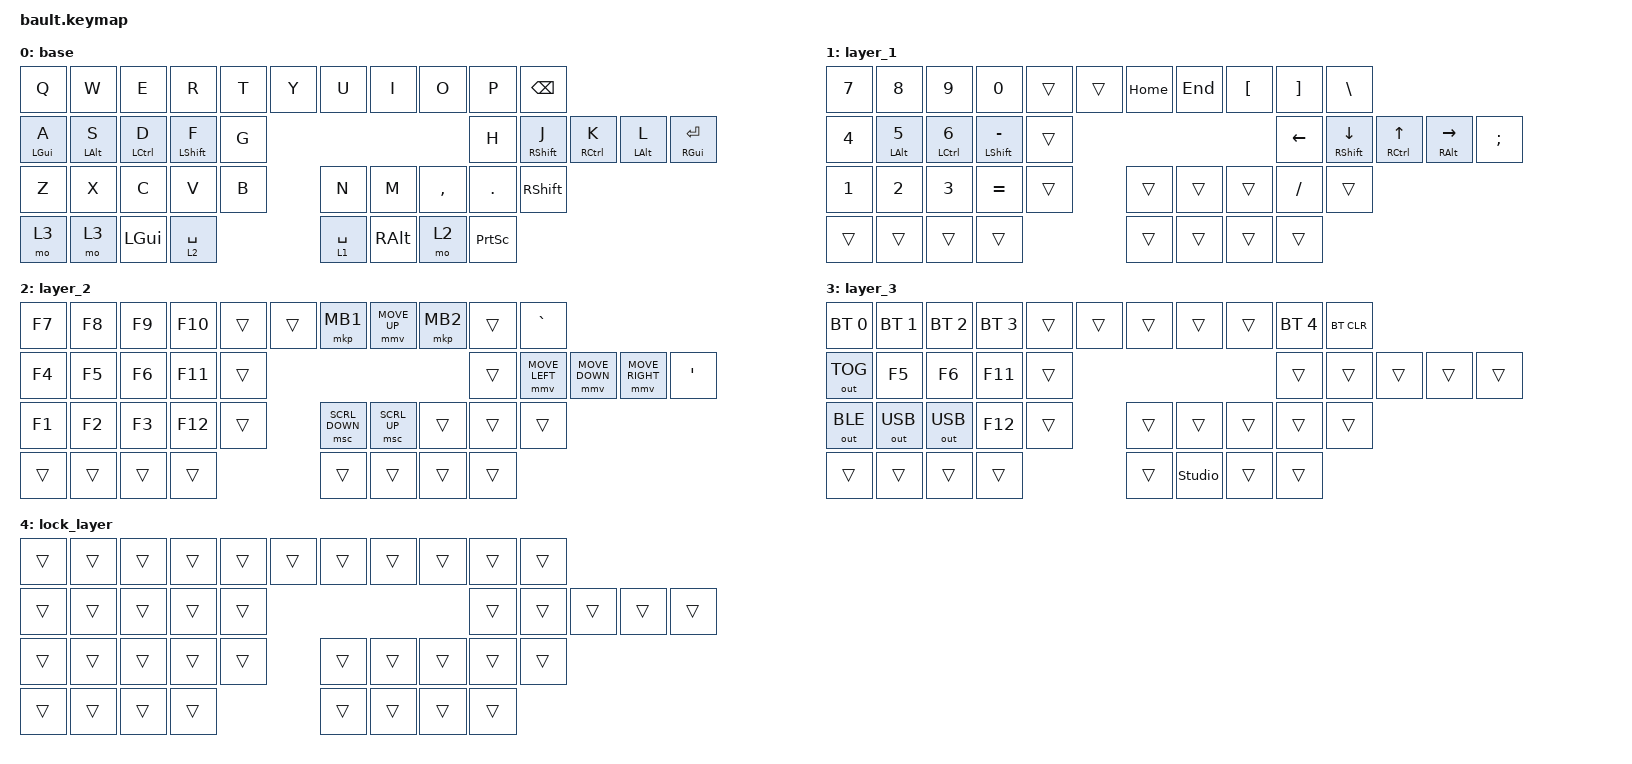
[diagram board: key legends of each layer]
#include <dt-bindings/zmk/pointing.h>
#include <behaviors.dtsi>
#include <dt-bindings/zmk/keys.h>
#include <dt-bindings/zmk/bt.h>
#include <dt-bindings/zmk/outputs.h>

#define ZMK_POINTING_DEFAULT_MOVE_VAL 1500  // default: 600
#define ZMK_POINTING_DEFAULT_SCRL_VAL 20    // default: 10

#include <dt-bindings/zmk/pointing.h>

/ {

    behaviors {
        hm: homerow_mods {
            compatible = "zmk,behavior-hold-tap";
            display-name = "Homerow Mods";
            bindings = <&kp>, <&kp>;

            #binding-cells = <2>;
            tapping-term-ms = <200>;
            quick-tap-ms = <180>;
            require-prior-idle-ms = <0>;
            flavor = "tap-preferred";
        };
    };

    behaviors {
        soft_off_short: soft_off_short {
            compatible = "zmk,behavior-soft-off";
            label = "SOFTOFF_SHORT";
            #binding-cells = <0>;
            hold-time-ms = <800>;   /* 테스트: 0.8초 */
        };
    };



    /* 🔹 콤보 정의 */
    combos {
        compatible = "zmk,combos";

        // Q + W -> Tab (베이스 레이어에서만)
        combo_qw_tab {
            timeout-ms = <30>;              // 30~50ms 선호, 필요시 조절
            require-prior-idle-ms = <120>; 
            key-positions = <0 1>;          // Q=0, W=1
            bindings = <&kp TAB>;
            layers = <0>;                   // base 레이어에서만 동작 (원하면 삭제)
        };
        combo_ws_esc {
            timeout-ms = <30>;              // 30~50ms 선호, 필요시 조절
            require-prior-idle-ms = <120>; 
            key-positions = <1 2>;          // Q=0, W=1
            bindings = <&kp ESC>;
            layers = <0>;                   // base 레이어에서만 동작 (원하면 삭제)
        };

        // A + S -> Caps Lock
        combo_as_caps {
            timeout-ms = <30>;
            key-positions = <11 12>;        // A=11, S=12
            bindings = <&kp CAPSLOCK>;
            layers = <0>;
        };
        combo_fg_unlock {
            timeout-ms = <35>;
            key-positions = <14 15>;    // F=14, G=15 (실제 행렬 인덱스 맞춰야 함)
            bindings = <&to 0>;         // base layer로 전환
            layers = <4>;               // lock layer에서만 동작
        };
    };
    /* 🔹 콤보 정의 */


    keymap {
        compatible = "zmk,keymap";

        base {
            bindings = <
                &kp Q      &kp W      &kp E      &kp R      &kp T      &kp Y      &kp U      &kp I      &kp O      &kp P      &kp BACKSPACE
                &hm LGUI A  &hm LEFT_ALT S  &hm LEFT_CONTROL D  &hm LEFT_SHIFT F  &kp G      &kp H      &hm RIGHT_SHIFT J  &hm RIGHT_CONTROL K  &hm LEFT_ALT L  &hm RIGHT_GUI ENTER
                &kp Z      &kp X      &kp C      &kp V      &kp B      &kp N      &kp M      &kp COMMA      &kp PERIOD      &kp RIGHT_SHIFT
                &mo 3      &mo 3      &kp LGUI      &lt 2 SPACE      &lt 1 SPACE      &kp RIGHT_ALT      &mo 2      &kp PSCRN
            >;
        };


        layer_1 {
            bindings = <
                &kp N7  &kp N8  &kp N9  &kp N0  &trans  &trans  &kp HOME    &kp END    &kp LEFT_BRACKET     &kp RIGHT_BRACKET     &kp BACKSLASH
                &kp N4  &hm LEFT_ALT N5  &hm LEFT_CONTROL N6  &hm LEFT_SHIFT MINUS  &trans  &kp LEFT  &hm RIGHT_SHIFT DOWN    &hm RIGHT_CONTROL UP    &hm RIGHT_ALT RIGHT  &kp SEMICOLON
                &kp N1  &kp N2  &kp N3  &kp EQUAL  &trans  &trans  &trans  &trans  &kp SLASH  &trans
                &trans   &trans  &trans  &trans  &trans  &trans    &trans &trans
            >;
        };


        layer_2 {
            bindings = <
                &kp F7  &kp F8  &kp F9  &kp F10  &trans  &trans  &mkp MB1  &mmv MOVE_UP  &mkp MB2  &trans  &kp GRAVE
                &kp F4  &kp F5  &kp F6  &kp F11  &trans  &trans        &mmv MOVE_LEFT        &mmv MOVE_DOWN        &mmv MOVE_RIGHT        &kp SINGLE_QUOTE
                &kp F1  &kp F2  &kp F3  &kp F12  &trans  &msc SCRL_DOWN    &msc SCRL_UP  &trans  &trans  &trans
                &trans   &trans  &trans  &trans  &trans        &trans        &trans &trans
            >;
        };

        layer_3 {
            bindings = <
                &bt BT_SEL 0  &bt BT_SEL 1  &bt BT_SEL 2  &bt BT_SEL 3  &trans  &trans  &trans  &trans  &trans  &bt BT_SEL 4  &bt BT_CLR
                &out OUT_TOG   &kp F5  &kp F6  &kp F11  &trans  &trans        &trans        &trans        &trans        &trans
                &out OUT_BLE  &out OUT_USB  &out OUT_USB   &kp F12  &trans  &trans    &trans  &trans  &trans  &trans
                &trans   &trans  &trans  &trans  &trans        &studio_unlock        &trans &trans
            >;
        };
        lock_layer {
            bindings = <
                &trans  &trans  &trans  &trans  &trans  &trans  &trans  &trans  &trans  &trans  &trans
                &trans  &trans  &trans  &trans  &trans  &trans  &trans  &trans  &trans  &trans
                &trans  &trans  &trans  &trans  &trans  &trans  &trans  &trans  &trans  &trans
                &trans  &trans  &trans  &trans  &trans  &trans  &trans  &trans
            >;
        };
    };
};
